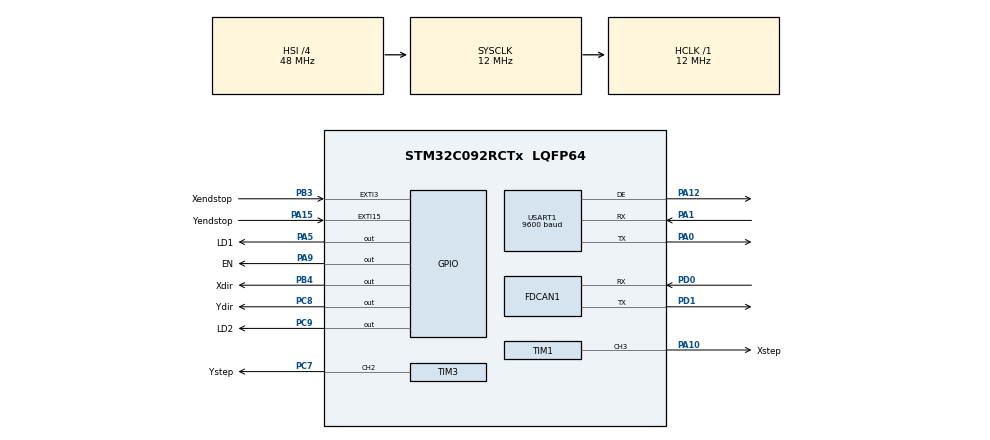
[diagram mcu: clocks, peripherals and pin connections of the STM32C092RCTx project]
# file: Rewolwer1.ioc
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CRC.CRCLength=CRC_POLYLENGTH_16B
CRC.DefaultInitValueUse=DEFAULT_INIT_VALUE_DISABLE
CRC.DefaultPolynomialUse=DEFAULT_POLYNOMIAL_DISABLE
CRC.GeneratingPolynomial=X15+X2+X0
CRC.InitValue=0xFFFF
CRC.InputDataInversionMode=CRC_INPUTDATA_INVERSION_BYTE
CRC.OutputDataInversionMode=CRC_OUTPUTDATA_INVERSION_ENABLE
FDCAN1.CalculateBaudRateNominal=500000
FDCAN1.CalculateTimeBitNominal=2000
FDCAN1.CalculateTimeQuantumNominal=666.6666666666666
FDCAN1.Mode=FDCAN_MODE_NORMAL
FDCAN1.NominalPrescaler=8
FDCAN1.NominalTimeSeg1=1
Mcu.Family=STM32C0
Mcu.Name=STM32C092RCTx
Mcu.Package=LQFP64
NUCLEO-C092RC.LD1=false
NUCLEO-C092RC.LD2=false
NVIC.EXTI2_3_IRQn=true\:0\:0\:false\:false\:true\:true\:true\:true
NVIC.EXTI4_15_IRQn=true\:0\:0\:false\:false\:true\:true\:true\:true
NVIC.FDCAN1_IT0_IRQn=true\:0\:0\:false\:false\:true\:true\:true\:true
NVIC.FDCAN1_IT1_IRQn=true\:0\:0\:false\:false\:true\:true\:true\:true
NVIC.TIM15_IRQn=true\:3\:0\:true\:false\:true\:true\:true\:true
NVIC.TIM17_IRQn=true\:0\:0\:false\:false\:true\:true\:true\:true
NVIC.TIM1_BRK_UP_TRG_COM_IRQn=true\:3\:0\:true\:false\:true\:true\:true\:true
NVIC.TIM1_CC_IRQn=true\:3\:0\:true\:false\:true\:true\:true\:true
NVIC.TIM2_IRQn=true\:3\:0\:true\:false\:true\:true\:true\:true
NVIC.TIM3_IRQn=true\:3\:0\:true\:false\:true\:true\:true\:true
NVIC.USART1_IRQn=true\:3\:0\:true\:false\:true\:true\:true\:true
PA0.Mode=Asynchronous
PA0.Signal=USART1_TX
PA1.Mode=Asynchronous
PA1.Signal=USART1_RX
PA10.GPIO_Label=Xstep
PA10.Signal=S_TIM1_CH3
PA12\ [PA10].Mode=Hardware Flow Control (RS485)
PA12\ [PA10].Signal=USART1_DE
PA13.GPIO_Label=SWDIO
PA13.Signal=DEBUG_SWDIO
PA14-BOOT0.GPIO_Label=SWCLK
PA14-BOOT0.Signal=DEBUG_SWCLK
PA15.GPIO_Label=Yendstop
PA15.GPIO_ModeDefaultEXTI=GPIO_MODE_IT_FALLING
PA15.GPIO_PuPd=GPIO_PULLUP
PA15.Signal=GPXTI15
PA5.GPIO_Label=LD1
PA5.Signal=GPIO_Output
PA9.GPIO_Label=EN
PA9.Signal=GPIO_Output
PB3.GPIO_Label=Xendstop
PB3.GPIO_ModeDefaultEXTI=GPIO_MODE_IT_FALLING
PB3.GPIO_PuPd=GPIO_PULLUP
PB3.Signal=GPXTI3
PB4.GPIO_Label=Xdir
PB4.Signal=GPIO_Output
PC14-OSCX_IN(PC14).GPIO_Label=OSCX_IN
PC14-OSCX_IN(PC14).Signal=RCC_OSCX_IN
PC15-OSCX_OUT(PC15).GPIO_Label=OSCX_OUT
PC15-OSCX_OUT(PC15).Signal=RCC_OSCX_OUT
PC7.GPIO_Label=Ystep
PC7.Signal=S_TIM3_CH2
PC8.GPIO_Label=Ydir
PC8.Signal=GPIO_Output
PC9.GPIO_Label=LD2
PC9.Signal=GPIO_Output
PD0.Mode=FDCAN_Activate
PD0.Signal=FDCAN1_RX
PD1.Mode=FDCAN_Activate
PD1.Signal=FDCAN1_TX
PF0-OSC_IN(PF0).GPIO_Label=OSC_IN
PF0-OSC_IN(PF0).Signal=RCC_OSC_IN
PF1-OSC_OUT(PF1).GPIO_Label=OSC_OUT
PF1-OSC_OUT(PF1).Signal=RCC_OSC_OUT
ProjectManager.HeapSize=0x200
ProjectManager.StackSize=0x400
ProjectManager.TargetToolchain=CMake
RCC.ADCFreq_Value=12000000
RCC.AHBFreq_Value=12000000
RCC.CortexFreq_Value=12000000
RCC.EXTERNAL_CLOCK_VALUE=12288000
RCC.HCLKFreq_Value=12000000
RCC.HSE_VALUE=8000000
RCC.HSI_VALUE=48000000
RCC.LSE_VALUE=32768
RCC.SYSCLKFreq_VALUE=12000000
SH.S_TIM1_CH3.0=TIM1_CH3,PWM Generation3 CH3
SH.S_TIM3_CH2.0=TIM3_CH2,PWM Generation2 CH2
TIM1.AutoReloadPreload=TIM_AUTORELOAD_PRELOAD_ENABLE
TIM1.Channel-PWM\ Generation3\ CH3=TIM_CHANNEL_3
TIM1.Period=79
TIM1.Prescaler=119
TIM1.Pulse-PWM\ Generation3\ CH3=39
TIM1.TIM_MasterOutputTrigger=TIM_TRGO_UPDATE
TIM15.Period=200
TIM17.Period=2000-1
TIM17.Prescaler=12000-1
TIM2.AutoReloadPreload=TIM_AUTORELOAD_PRELOAD_DISABLE
TIM2.Period=200
TIM3.AutoReloadPreload=TIM_AUTORELOAD_PRELOAD_ENABLE
TIM3.Channel-PWM\ Generation2\ CH2=TIM_CHANNEL_2
TIM3.Period=79
TIM3.Prescaler=119
TIM3.Pulse-PWM\ Generation2\ CH2=39
TIM3.TIM_MasterOutputTrigger=TIM_TRGO_UPDATE
TIM3.TIM_MasterSlaveMode=TIM_MASTERSLAVEMODE_DISABLE
USART1.BaudRate=9600
USART1.VirtualMode-Asynchronous=VM_ASYNC
USART1.VirtualMode-Hardware\ Flow\ Control\ (RS485)=VM_ASYNC
VP_CRC_VS_CRC.Mode=CRC_Activate
VP_NUCLEO-C092RC_VS_BSP_COMMON.Mode=COMMON
VP_TIM15_VS_ClockSourceITR.Mode=TriggerSource_ITR1
VP_TIM15_VS_ControllerModeClock.Mode=Clock Mode
VP_TIM17_VS_ClockSourceINT.Mode=Enable_Timer
VP_TIM1_VS_ClockSourceINT.Mode=Internal
VP_TIM2_VS_ClockSourceITR.Mode=TriggerSource_ITR0
VP_TIM2_VS_ControllerModeClock.Mode=Clock Mode
VP_TIM3_VS_ClockSourceINT.Mode=Internal
board=NUCLEO-C092RC

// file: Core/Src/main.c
/* USER CODE BEGIN Header */
/**
  ******************************************************************************
  * @file           : main.c
  * @brief          : Main program body
  ******************************************************************************
  * @attention
  *
  * Copyright (c) 2026 STMicroelectronics.
  * All rights reserved.
  *
  * This software is licensed under terms that can be found in the LICENSE file
  * in the root directory of this software component.
  * If no LICENSE file comes with this software, it is provided AS-IS.
  *Aby tim
  ******************************************************************************
  */

  /*
  ******************************************************************************
  KrokowceRewolwerowce - Filip Maziarka
  ******************************************************************************
  */
/* USER CODE END Header */
#include "main.h"
#include "crc.h"
#include "fdcan.h"
#include "tim.h"
#include "usart.h"
#include "gpio.h"

/* USER CODE BEGIN Includes */
#include <stdbool.h>
/* USER CODE END Includes */

/* USER CODE BEGIN PV */
//Zmienne pozycyjne
volatile uint8_t Xready = 1;
volatile uint8_t Yready = 1;
volatile int16_t Xsteps = 0;
volatile int16_t Ysteps = 0;
volatile int16_t Xupdate = 0;
volatile int16_t Yupdate = 0;

volatile uint8_t Xhomed = 0;
volatile uint8_t Yhomed = 0;
//Zmienna enable, defaultowo silniki włączone
volatile uint8_t enState = 1;

volatile int sendPosFlag = 0;
volatile int xEndstopEn = 0, yEndstopEn = 0;
//Tu wpisz pozycje strzykawek i probówek po zmierzeniu
int pozStrzykawek[5] = {0,0,0,0,0};
int pozProbowek[7] = {0,0,0,0,0,0,0};
int q = 0;
const int defaultPeriod = 80;
FDCAN_RxHeaderTypeDef RxHeader;
FDCAN_TxHeaderTypeDef TxHeader;

uint8_t RxData[8];
volatile int incomingMessage = 0;

uint8_t modbus_req[8] = {0xFE, 0x03, 0x00, 0x00, 0x00, 0x02, 0x00, 0x00};
uint8_t modbus_res[9] = {0};

volatile bool measurement_ready = false;
volatile bool trigger_measurement = true;

volatile float humidity = 0.0f;
volatile float temperature = 0.0f;
/* USER CODE END PV */

void SystemClock_Config(void);
/* USER CODE BEGIN PFP */
int absol(int fk)//wartość bezwzględna
{
  if(fk < 0)
  {
    return -fk;
  }
  return fk;
}
uint8_t sendPosition(uint8_t pierwszy);

void moveX(int steps, int stepPeriod)//step period podawany w 1/100 ms
{
  if(Xready == 0||steps == 0)
  {
    return; //Silnik wciąż się kręci/Ruch o 0 stopni - wyślij ramkę CAN z błędem
  }
  if(steps > 0) //Wybierz kierunek
  {
    HAL_GPIO_WritePin(Xdir_GPIO_Port, Xdir_Pin, GPIO_PIN_RESET);
  }
  else
  {
    HAL_GPIO_WritePin(Xdir_GPIO_Port, Xdir_Pin, GPIO_PIN_SET);
  }
  //Zmienne pomocnicze do śledzenia pozycji silników
  Xupdate = steps;
  Xready = 0;
  if(stepPeriod < 4) //zabezpieczenie przed pwm ze stanem wysokim trwającym 0ms
  {
    stepPeriod = defaultPeriod;
  }
  //Nastawy licznika kroków
  __HAL_TIM_SET_COUNTER(&htim2, 0);
  __HAL_TIM_SET_AUTORELOAD(&htim2, absol(steps));
  //Nastawy PWM taktującego kroki steppera
  __HAL_TIM_SET_COMPARE(&htim1, TIM_CHANNEL_3,  stepPeriod/2-1);
  __HAL_TIM_SET_AUTORELOAD(&htim1, stepPeriod-1);
  //Start timerów
  HAL_TIM_Base_Start_IT(&htim2);
  HAL_TIM_PWM_Start_IT(&htim1, TIM_CHANNEL_3);
}
void moveY(int steps, int stepPeriod)//step period podawany w 1/100 ms
{
  if(Yready == 0||steps == 0)
  {
    return; //Silnik wciąż się kręci/Ruch o 0 stopni - wyślij ramkę CAN z błędem
  }
  if(steps > 0) //Wybierz kierunek
  {
    HAL_GPIO_WritePin(Ydir_GPIO_Port, Ydir_Pin, GPIO_PIN_RESET);
  }
  else
  {
    HAL_GPIO_WritePin(Ydir_GPIO_Port, Ydir_Pin, GPIO_PIN_SET);
  }
  //Zmienne pomocnicze do śledzenia pozycji silników
  Yupdate = steps;
  Yready = 0;
  if(stepPeriod < 4)  //zabezpieczenie przed pwm ze stanem wysokim trwającym 0ms
  {
    stepPeriod = defaultPeriod;
  }
  //Nastawy licznika kroków
  __HAL_TIM_SET_COUNTER(&htim15, 0);
  __HAL_TIM_SET_AUTORELOAD(&htim15, absol(steps));
  //Nastawy PWM taktującego kroki steppera
  __HAL_TIM_SET_COMPARE(&htim3, TIM_CHANNEL_2,  stepPeriod/2-1);
  __HAL_TIM_SET_AUTORELOAD(&htim3, stepPeriod-1);
  //Start timerów
  HAL_TIM_Base_Start_IT(&htim15);
  HAL_TIM_PWM_Start_IT(&htim3, TIM_CHANNEL_2);
}

/* USER CODE END PFP */

/* USER CODE BEGIN 0 */
uint16_t Calculate_Hardware_CRC(uint8_t *data, uint16_t length) {
    __HAL_CRC_DR_RESET(&hcrc); // Reset CRC calculator to 0xFFFF

    for (uint16_t i = 0; i < length; i++) {
        // Feed data byte by byte to the CRC Data Register
        *(__IO uint8_t *)(__IO void *)(&hcrc.Instance->DR) = data[i];
    }
    return (uint16_t)hcrc.Instance->DR;
}

// UART Receive Complete Callback (Triggered automatically by hardware)
void HAL_UART_RxCpltCallback(UART_HandleTypeDef *huart) {
    if (huart->Instance == USART1) {
        measurement_ready = true; // Set flag for the main loop
    }
}
/* USER CODE END 0 */

int main(void)
{

  /* MCU Configuration--------------------------------------------------------*/

  /* Reset of all peripherals, Initializes the Flash interface and the Systick. */
  HAL_Init();

  /* Configure the system clock */
  SystemClock_Config();

  /* Initialize all configured peripherals */
  MX_GPIO_Init();
  MX_TIM1_Init();
  MX_TIM3_Init();
  MX_TIM2_Init();
  MX_TIM15_Init();
  MX_FDCAN1_Init();
  MX_USART1_UART_Init();
  MX_CRC_Init();
  MX_TIM17_Init();
  /* USER CODE BEGIN 2 */
  //zgaś indicator błędu
  HAL_GPIO_WritePin(LD2_GPIO_Port, LD2_Pin, GPIO_PIN_RESET);
  // FILTRY CAN
  FDCAN_FilterTypeDef sFilterConfig;
  sFilterConfig.IdType = FDCAN_STANDARD_ID;
  sFilterConfig.FilterIndex = 0;
  sFilterConfig.FilterType = FDCAN_FILTER_MASK;
  sFilterConfig.FilterConfig = FDCAN_FILTER_TO_RXFIFO0;
  sFilterConfig.FilterID1 = 0x099;
  sFilterConfig.FilterID2 = 0x7FF;
  if (HAL_FDCAN_ConfigFilter(&hfdcan1, &sFilterConfig) != HAL_OK)
  {

  }
  HAL_FDCAN_ConfigGlobalFilter(&hfdcan1,
  FDCAN_ACCEPT_IN_RX_FIFO0,
  FDCAN_ACCEPT_IN_RX_FIFO0,
  FDCAN_REJECT_REMOTE,
  FDCAN_REJECT_REMOTE
  );
  HAL_FDCAN_Start(&hfdcan1);
  HAL_FDCAN_ActivateNotification(&hfdcan1, FDCAN_IT_RX_FIFO0_NEW_MESSAGE, 0);

  // konfiguracja txHeader
  uint8_t TxData[8] = {1,2,3,4,5,6,7,8};
  TxHeader.Identifier = 0x099;
  TxHeader.IdType = FDCAN_STANDARD_ID;
  TxHeader.TxFrameType = FDCAN_DATA_FRAME;
  TxHeader.DataLength = FDCAN_DLC_BYTES_8;
  TxHeader.ErrorStateIndicator = FDCAN_ESI_ACTIVE;
  TxHeader.BitRateSwitch = FDCAN_BRS_OFF;
  TxHeader.FDFormat = FDCAN_CLASSIC_CAN;
  TxHeader.TxEventFifoControl = FDCAN_NO_TX_EVENTS;
  TxHeader.MessageMarker = 0;

  //Początkowe nastawy kierunków
  HAL_GPIO_WritePin(Xdir_GPIO_Port, Xdir_Pin, GPIO_PIN_RESET);
  HAL_GPIO_WritePin(Ydir_GPIO_Port, Ydir_Pin, GPIO_PIN_RESET);
  HAL_GPIO_WritePin(EN_GPIO_Port, EN_Pin, GPIO_PIN_RESET);

  // Calculate CRC for the request frame only once before the loop
  uint16_t crc = Calculate_Hardware_CRC(modbus_req, 6);
  modbus_req[6] = crc & 0xFF;
  modbus_req[7] = (crc >> 8) & 0xFF;

  HAL_TIM_Base_Start_IT(&htim17);
  /* USER CODE END 2 */

  /* Infinite loop */
  /* USER CODE BEGIN WHILE */
  while (1)
  {
      // 1. ZLECENIE POMIARU (Flaga ustawiona w tle przez TIM17)
      if (trigger_measurement) {
          trigger_measurement = false; // Opuszczamy flagę

          // Zlecamy komunikację w tle
          HAL_UART_Receive_IT(&huart1, modbus_res, 9);
          HAL_UART_Transmit_IT(&huart1, modbus_req, 8);
      }

      // 2. PARSOWANIE DANYCH (Flaga ustawiona w tle przez UART RX)
      if (measurement_ready) {
          measurement_ready = false;

          if (modbus_res[0] == 0xFE && modbus_res[1] == 0x03) {

              uint16_t raw_humidity = (modbus_res[3] << 8) | modbus_res[4];
              humidity = raw_humidity / 10.0f;

              int16_t raw_temperature = (int16_t)((modbus_res[5] << 8) | modbus_res[6]);
              temperature = raw_temperature / 10.0f;
          }
      }

      if(incomingMessage == 1)
      {
        HAL_FDCAN_GetRxMessage(&hfdcan1, FDCAN_RX_FIFO0, &RxHeader, RxData);
        incomingMessage = 0;
        uint8_t komenda = RxData[0];//Pierwsza cyfra zawsze 1 (silnik X) lub 2 (silnik Y)
        switch(komenda)
        {
          case 0x99://Awaryjny stop silników. Updatuje pozycje silników w momencie zatrzymania.
          {
            HAL_TIM_PWM_Stop_IT(&htim1, TIM_CHANNEL_3);
            HAL_TIM_Base_Stop_IT(&htim2);
            HAL_TIM_PWM_Stop_IT(&htim3, TIM_CHANNEL_2);
            HAL_TIM_Base_Stop_IT(&htim15);
            Xsteps+=__HAL_TIM_GET_COUNTER(&htim2);
            Xupdate = 0;
            Xready = 1;
            Ysteps+=__HAL_TIM_GET_COUNTER(&htim15);
            Yupdate = 0;
            Yready = 1;
            sendPosition(0x99);
            break;
          }
          case 0x90://Wyłącz silniki (ENABLE = HIGH)
          {
            enState = 0;
            HAL_GPIO_WritePin(EN_GPIO_Port, EN_Pin, GPIO_PIN_SET);
            sendPosition(0x90);
            break;
          }
          case 0x91://Włącz silniki (ENABLE = LOW) Silniki początkowo włączone
          {
            enState = 1;
            HAL_GPIO_WritePin(EN_GPIO_Port, EN_Pin, GPIO_PIN_RESET);
            sendPosition(0x91);
            break;
          }
          case 0x11://Przesuń silnikiem X na określoną pozycję
          {
            if(enState == 0)
            {
              sendPosition(0x90);
              break;
            }
            int16_t recievedTargetPosition= (int16_t)((RxData[1] << 8) | RxData[2]);
            int16_t recievedStepPeriod= (int16_t)((RxData[3] << 8) | RxData[4]);
            moveX(recievedTargetPosition-Xsteps, recievedStepPeriod);
            sendPosFlag = 1;
            break;
          }
          case 0x21://Przesuń silnikiem Y na określoną pozycję
          {
            if(enState == 0)
            {
              sendPosition(0x90);
              break;
            }
            int16_t recievedTargetPosition= (int16_t)((RxData[1] << 8) | RxData[2]);
            int16_t recievedStepPeriod= (int16_t)((RxData[3] << 8) | RxData[4]);
            moveY(recievedTargetPosition-Ysteps, recievedStepPeriod);
            sendPosFlag = 1;
            break;
          }
          case 0x12://Przesuń X o określoną ilość kroków
          {
            if(enState == 0)
            {
              sendPosition(0x90);
              break;
            }
            int16_t recievedTargetPosition= (int16_t)((RxData[1] << 8) | RxData[2]);
            int16_t recievedStepPeriod= (int16_t)((RxData[3] << 8) | RxData[4]);
            moveX(recievedTargetPosition, recievedStepPeriod);
            sendPosFlag = 1;
            break;
          }
          case 0x22://Przesuń Y o określoną ilość kroków
          {
            if(enState == 0)
            {
              sendPosition(0x90);
              break;
            }
            int16_t recievedTargetPosition= (int16_t)((RxData[1] << 8) | RxData[2]);
            int16_t recievedStepPeriod= (int16_t)((RxData[3] << 8) | RxData[4]);
            moveY(recievedTargetPosition, recievedStepPeriod);
            sendPosFlag = 1;
            break;
          }
          case 0x13://przesun X do okreslonej probowki
          {
            if(enState == 0)
            {
              sendPosition(0x90);
              break;
            }
            int16_t poz = (int16_t)((RxData[1] << 8) | RxData[2]);
            int16_t recievedStepPeriod= (int16_t)((RxData[3] << 8) | RxData[4]);
            if(poz < 0 || poz > sizeof(pozProbowek)/sizeof(pozProbowek[0]))
            {
              sendPosition(0x13);
              break;
            }
            moveX(pozProbowek[poz]-Xsteps, recievedStepPeriod);
            sendPosFlag = 1;
            break;
          }
          case 0x23://przesun Y do okreslonej strzykawki
          {
            if(enState == 0)
            {
              sendPosition(0x90);
              break;
            }
            int16_t poz = (int16_t)((RxData[1] << 8) | RxData[2]);
            int16_t recievedStepPeriod= (int16_t)((RxData[3] << 8) | RxData[4]);
            if(poz < 0 || poz > sizeof(pozStrzykawek)/sizeof(pozStrzykawek[0]))
            {
              sendPosition(0x23);
              break;
            }
            moveX(pozStrzykawek[poz]-Xsteps, recievedStepPeriod);
            sendPosFlag = 1;
            break;
          }
          case 0x18://home X
          {
            if(enState == 0)
            {
              sendPosition(0x90);
              break;
            }
            xEndstopEn = 1;//Włąćzenie krańcówki
            moveX(200*16, 300);
            sendPosFlag = 1;
            break;
          }
          case 0x28://home Y
          {
            if(enState == 0)
            {
              sendPosition(0x90);
              break;
            }
            yEndstopEn = 1;//Włąćzenie krańcówki
            moveY(200*16, 300);
            sendPosFlag = 1;
            break;
          }
          case 0x00://zapytaj o pozycję
          {
            if(enState == 0)
            {
              sendPosition(0x90);
              break;
            }
            sendPosition(0x01);//OK
            break;
          }HAL_TIM_Base_Start_IT(&htim17);
          default://niepoprawna instrukcja
          {
            sendPosition(0x02);
            break;
          }

        }
      }
      if(sendPosFlag == 1 && Xready == 1 && Yready == 1)
      {
        if(sendPosition(0x01)==1)//Status OK
        {
          sendPosFlag = 0;
        }
      }
    /* USER CODE END WHILE */

  }
}

void SystemClock_Config(void)
{
  RCC_OscInitTypeDef RCC_OscInitStruct = {0};
  RCC_ClkInitTypeDef RCC_ClkInitStruct = {0};

  __HAL_FLASH_SET_LATENCY(FLASH_LATENCY_0);

  /** Initializes the RCC Oscillators according to the specified parameters
  * in the RCC_OscInitTypeDef structure.
  */
  RCC_OscInitStruct.OscillatorType = RCC_OSCILLATORTYPE_HSI;
  RCC_OscInitStruct.HSIState = RCC_HSI_ON;
  RCC_OscInitStruct.HSIDiv = RCC_HSI_DIV4;
  RCC_OscInitStruct.HSICalibrationValue = RCC_HSICALIBRATION_DEFAULT;
  if (HAL_RCC_OscConfig(&RCC_OscInitStruct) != HAL_OK)
  {
    Error_Handler();
  }

  /** Initializes the CPU, AHB and APB buses clocks
  */
  RCC_ClkInitStruct.ClockType = RCC_CLOCKTYPE_HCLK|RCC_CLOCKTYPE_SYSCLK
                              |RCC_CLOCKTYPE_PCLK1;
  RCC_ClkInitStruct.SYSCLKSource = RCC_SYSCLKSOURCE_HSI;
  RCC_ClkInitStruct.SYSCLKDivider = RCC_SYSCLK_DIV1;
  RCC_ClkInitStruct.AHBCLKDivider = RCC_HCLK_DIV1;
  RCC_ClkInitStruct.APB1CLKDivider = RCC_APB1_DIV1;

  if (HAL_RCC_ClockConfig(&RCC_ClkInitStruct, FLASH_LATENCY_0) != HAL_OK)
  {
    Error_Handler();
  }
}

/* USER CODE BEGIN 4 */
//Obsługa zakończenia ruchu silnika
void HAL_TIM_PeriodElapsedCallback(TIM_HandleTypeDef *htim)
{
  if (htim == &htim2) {
    HAL_TIM_PWM_Stop_IT(&htim1, TIM_CHANNEL_3);
    HAL_TIM_Base_Stop_IT(&htim2);
    Xsteps+=Xupdate;
    Xupdate = 0;
    Xready = 1;
  }
  if (htim == &htim15) {
    HAL_TIM_PWM_Stop_IT(&htim3, TIM_CHANNEL_2);
    HAL_TIM_Base_Stop_IT(&htim15);
    Ysteps+=Yupdate;
    Yupdate = 0;
    Yready = 1;
    HAL_GPIO_TogglePin(LD1_GPIO_Port, LD1_Pin);
  }
  if (htim->Instance == TIM17) {
        trigger_measurement = true; // Dajemy znak pętli głównej: Czas na pomiar!
    }
}
//Obsługa zderzeń z krańcówkami
void HAL_GPIO_EXTI_Falling_Callback(uint16_t GPIO_Pin)
{
  if (GPIO_Pin == Xendstop_Pin&&xEndstopEn==1)
  {
    HAL_TIM_PWM_Stop_IT(&htim1, TIM_CHANNEL_3);
    HAL_TIM_Base_Stop_IT(&htim2);
    xEndstopEn = 0;//Wyłączanie krańcówki
    Xsteps = 0;
    Xupdate = 0;
    Xready = 1;
  }
  else if(GPIO_Pin == Yendstop_Pin&&yEndstopEn==1)
  {
    HAL_TIM_PWM_Stop_IT(&htim3, TIM_CHANNEL_2);
    HAL_TIM_Base_Stop_IT(&htim15);
    yEndstopEn = 0;//Wyłączanie krańcówki
    Ysteps=0;
    Yupdate = 0;
    Yready = 1;
  }
}
void HAL_FDCAN_RxFifo0Callback(FDCAN_HandleTypeDef *hfdcan, uint32_t RxFifo0ITs)
{
    if (RxFifo0ITs & FDCAN_IT_RX_FIFO0_NEW_MESSAGE)
    {
        incomingMessage = 1;
    }
    HAL_FDCAN_ActivateNotification(hfdcan, FDCAN_IT_RX_FIFO0_NEW_MESSAGE, 0);
}
uint8_t sendPosition(uint8_t pierwszy)//Wysyłanie ramek pozycyjnych (status, pozX, pozY)
{
  uint8_t ramka[5];
  TxHeader.DataLength = FDCAN_DLC_BYTES_5;
  ramka[0] = pierwszy;
  ramka[1] = (uint8_t)(Xsteps & 0xFF);
  ramka[2] = (uint8_t)((Xsteps >> 8) & 0xFF);
  ramka[3] = (uint8_t)(Ysteps & 0xFF);
  ramka[4] = (uint8_t)((Ysteps >> 8) & 0xFF);
  if(HAL_FDCAN_AddMessageToTxFifoQ(&hfdcan1, &TxHeader, ramka)!=HAL_OK)
  {
    return 0;
  }
  return 1;
}
/* USER CODE END 4 */

void Error_Handler(void)
{
  __disable_irq();
  while (1)
  {
  }
}
